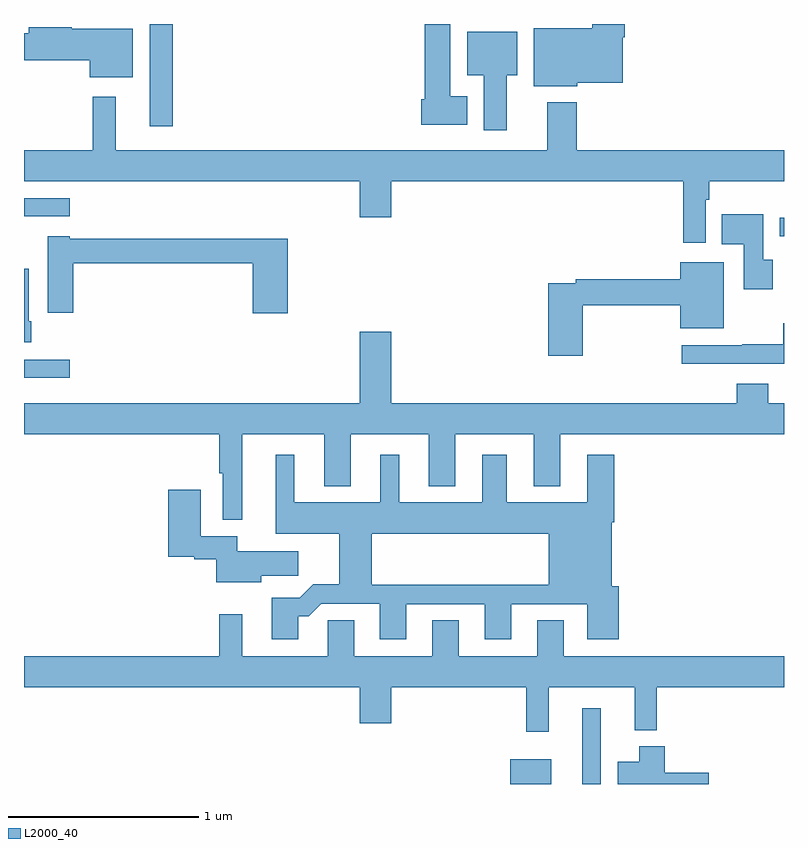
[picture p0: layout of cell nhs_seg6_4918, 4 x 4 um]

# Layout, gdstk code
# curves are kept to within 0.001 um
import gdstk
lib = gdstk.Library(unit=1e-6, precision=1e-09)
def R(c, l, rs):  # rectangles x0, y0, x1, y1
    for r in rs: c.add(gdstk.rectangle(r[:2], r[2:], *l))
def P(c, l, *ps):  # polygons
    for p in ps: c.add(gdstk.Polygon(p, *l))
L2000_40 = (2000, 40)

nhs_seg6_4918 = lib.new_cell('nhs_seg6_4918')
R(nhs_seg6_4918, L2000_40, [(405.56,941.5,405.775,941.629), (405.938,941.5,406.035,941.899), (403,943.637,403.24,943.734), (406.977,944.382,407,944.48), (403,944.487,403.24,944.583), (403.661,944.961,403.783,945.5)])
P(nhs_seg6_4918, L2000_40, [(405.912,945.191),(406.15,945.191),(406.15,945.431),(406.163,945.431),(406.163,945.5),(405.992,945.5),(405.992,945.478),(405.683,945.478),(405.683,945.173),(405.912,945.173)],
  [(405.334,945.121),(405.244,945.121),(405.244,945.5),(405.11,945.5),(405.11,945.105),(405.092,945.105),(405.092,944.969),(405.334,944.969)],
  [(403.573,945.475),(403.25,945.475),(403.25,945.482),(403.025,945.482),(403.025,945.452),(403,945.452),(403,945.31),(403.346,945.31),(403.346,945.221),(403.573,945.221)],
  [(405.541,945.23),(405.595,945.23),(405.595,945.46),(405.332,945.46),(405.332,945.23),(405.419,945.23),(405.419,944.94),(405.541,944.94)],
  [(403.362,945.118),(403.362,944.836),(403,944.836),(403,944.672),(404.768,944.672),(404.768,944.484),(404.932,944.484),(404.932,944.672),(406.471,944.672),(406.471,944.349),(406.587,944.349),(406.587,944.576),(406.607,944.576),(406.607,944.672),(407,944.672),(407,944.836),(405.908,944.836),(405.908,945.088),(405.755,945.088),(405.755,944.836),(403.483,944.836),(403.483,945.118)],
  [(406.942,944.259),(406.891,944.259),(406.891,944.5),(406.672,944.5),(406.672,944.342),(406.787,944.342),(406.787,944.103),(406.942,944.103)],
  [(404.387,944.371),(403.242,944.371),(403.242,944.383),(403.124,944.383),(403.124,943.98),(403.259,943.98),(403.259,944.242),(404.204,944.242),(404.204,943.977),(404.387,943.977)],
  [(405.941,944.02),(406.454,944.02),(406.454,943.898),(406.684,943.898),(406.684,944.245),(406.454,944.245),(406.454,944.156),(405.904,944.156),(405.904,944.136),(405.758,944.136),(405.758,943.755),(405.941,943.755)],
  [(403.037,943.936),(403.024,943.936),(403.024,944.212),(403,944.212),(403,943.824),(403.037,943.824)],
  [(407,943.924),(406.995,943.924),(406.995,943.814),(406.78,943.814),(406.78,943.809),(406.461,943.809),(406.461,943.713),(407,943.713)],
  [(404.149,943.34),(404.579,943.34),(404.579,943.067),(404.719,943.067),(404.719,943.34),(405.131,943.34),(405.131,943.067),(405.271,943.067),(405.271,943.34),(405.683,943.34),(405.683,943.067),(405.823,943.067),(405.823,943.34),(407,943.34),(407,943.504),(406.916,943.504),(406.916,943.606),(406.751,943.606),(406.751,943.504),(404.932,943.504),(404.932,943.879),(404.768,943.879),(404.768,943.504),(403,943.504),(403,943.34),(404.028,943.34),(404.028,943.135),(404.045,943.135),(404.045,942.891),(404.149,942.891)],
  [(404.303,942.481),(404.303,942.261),(404.443,942.261),(404.443,942.383),(404.498,942.383),(404.565,942.45),(404.873,942.45),(404.873,942.261),(405.013,942.261),(405.013,942.447),(405.425,942.447),(405.425,942.261),(405.565,942.261),(405.565,942.447),(405.965,942.447),(405.965,942.261),(406.13,942.261),(406.13,942.54),(406.093,942.54),(406.093,942.878),(406.106,942.878),(406.106,943.234),(405.965,943.234),(405.965,942.982),(405.541,942.982),(405.541,943.234),(405.413,943.234),(405.413,942.982),(404.974,942.982),(404.974,943.234),(404.876,943.234),(404.876,942.982),(404.422,942.982),(404.422,943.234),(404.324,943.234),(404.324,942.818),(404.66,942.818),(404.66,942.551),(404.522,942.551),(404.519,942.548),(404.831,942.548),(404.831,942.818),(405.761,942.818),(405.761,942.548),(404.519,942.548),(404.452,942.481)],
  [(404.248,942.595),(404.443,942.595),(404.443,942.724),(404.122,942.724),(404.122,942.805),(403.93,942.805),(403.93,943.048),(403.76,943.048),(403.76,942.695),(403.896,942.695),(403.896,942.683),(404.012,942.683),(404.012,942.563),(404.248,942.563)],
  [(405.761,942.008),(406.214,942.008),(406.214,941.783),(406.331,941.783),(406.331,942.008),(407,942.008),(407,942.172),(405.841,942.172),(405.841,942.362),(405.701,942.362),(405.701,942.172),(405.289,942.172),(405.289,942.362),(405.149,942.362),(405.149,942.172),(404.737,942.172),(404.737,942.362),(404.598,942.362),(404.598,942.172),(404.149,942.172),(404.149,942.394),(404.028,942.394),(404.028,942.172),(403,942.172),(403,942.008),(404.768,942.008),(404.768,941.82),(404.932,941.82),(404.932,942.008),(405.643,942.008),(405.643,941.775),(405.761,941.775)],
  [(406.603,941.559),(406.373,941.559),(406.373,941.698),(406.238,941.698),(406.238,941.617),(406.124,941.617),(406.124,941.5),(406.603,941.5)])

lib.write_gds('nhs_seg6_4918.gds')
